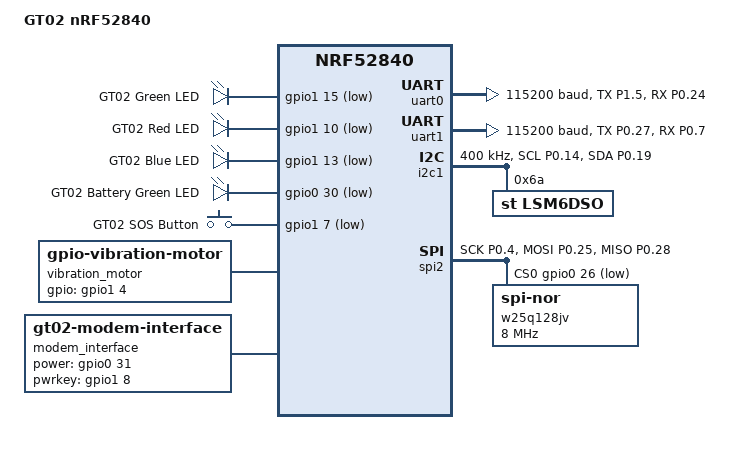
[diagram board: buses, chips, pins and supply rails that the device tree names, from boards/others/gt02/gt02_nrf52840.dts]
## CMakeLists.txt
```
# 声明本工程要求的最低CMake版本；Zephyr 4.x满足这个要求。
cmake_minimum_required(VERSION 3.20.0)

# 把当前工程根目录加入Zephyr的板级搜索路径。
# Zephyr会在${CMAKE_CURRENT_SOURCE_DIR}/boards下查找我们的GT02自定义板。
# 这句必须位于find_package(Zephyr ...)之前，否则Zephyr初始化时无法发现自定义板。
list(APPEND BOARD_ROOT ${CMAKE_CURRENT_SOURCE_DIR})

# 查找并加载Zephyr构建系统。
# REQUIRED表示找不到Zephyr时立即停止配置；ZEPHYR_BASE指向本机Zephyr源码目录。
find_package(Zephyr REQUIRED HINTS $ENV{ZEPHYR_BASE})

# 定义应用工程名称；该名称会出现在CMake生成的工程信息中。
project(MyProject)

# 把src/main.c加入Zephyr自动创建的app构建目标。
# PRIVATE表示该源文件只属于当前app目标，不向其他CMake目标传播。
target_sources(app PRIVATE
    # 应用入口只负责进入产品装配层。
    src/main.c
    # 产品装配：LED心跳、IMU FIFO采样、外部Flash只读检查。
    app/gt02_app.c
    adapters/indicator/gt02_status_led_zephyr.c
    services/imu/gt02_imu_service.c
    adapters/imu/gt02_imu_zephyr.c
    adapters/storage/gt02_flash_zephyr.c
)

# 使组件头文件可使用从工程根目录开始的稳定路径。
target_include_directories(app PRIVATE ${CMAKE_CURRENT_SOURCE_DIR})

# 官方Flash驱动仍由Zephyr选择；此处只按应用开关选择我们的测试文件。
target_sources_ifdef(CONFIG_GT02_FLASH_SELF_TEST app PRIVATE
    tests/bringup/gt02_flash_selftest.c
)

# 4G重建第一步只编译硬件底座，不依赖SDK内部AT头文件或网络服务。
target_sources_ifdef(CONFIG_GT02_MODEM_HW app PRIVATE
    adapters/modem/gt02_modem_zephyr.c
)

# 临时验证与硬件适配分开；关闭测试开关即移除测试线程和原始RX日志。
target_sources_ifdef(CONFIG_GT02_MODEM_HW_TEST app PRIVATE
    tests/bringup/gt02_modem_hw_test.c
)

# 保留下层AT及厂家能力；是否启动由装配入口决定，编译不表示自动上电。
if(CONFIG_GT02_MODEM_AT)
    target_sources(app PRIVATE
        adapters/modem/gt02_modem_at.c
        adapters/modem/gt02_modem_lierda.c
    )
    # SDK内部解析器仅由AT核心使用，不向上层传播其头文件路径。
    target_include_directories(app PRIVATE ${ZEPHYR_BASE}/drivers/modem)
endif()

target_sources_ifdef(CONFIG_GT02_MODEM_AT_TEST app PRIVATE
    tests/bringup/gt02_modem_at_test.c
)

# 检测服务只依赖统一操作表，不直接使用厂家命令或硬件引脚。
target_sources_ifdef(CONFIG_GT02_NETWORK_SERVICE app PRIVATE
    services/network/gt02_network_service.c
)
```

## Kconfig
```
# 应用配置入口：先加载Zephyr/NCS配置，再声明GT02自己的测试开关。
mainmenu "GT02 firmware configuration"

source "Kconfig.zephyr"

menu "GT02 bring-up tests"

config GT02_FLASH_SELF_TEST
	bool "Destructive test of the approved external Flash sector"
	depends on FLASH && SPI_NOR && FLASH_PAGE_LAYOUT && FLASH_MAP
	default n
	help
	  Run once per boot, before starting the IMU. Erase, program and verify
	  only the approved W25Q128JV sector at 0x00fff000, size 4096 bytes.
	  ALL previous contents of this sector will be destroyed. Three test
	  patterns are checked, then the sector is erased and verified again.
	  Disable this option after bring-up; it is not a production self-test.

endmenu

menu "GT02 modem hardware"

config GT02_MODEM_HW
	bool "GPIO and raw UART hardware adapter"
	depends on GPIO && SERIAL && SERIAL_SUPPORT_INTERRUPT
	depends on DT_HAS_GT02_MODEM_INTERFACE_ENABLED
	depends on UART_INTERRUPT_DRIVEN && RING_BUFFER && PM_DEVICE
	default n
	help
	  Build the board GPIO and raw UART adapter only. Application startup
	  prepares inactive POWER/PWRKEY signals, without powering the module
	  or starting UART. No AT parser, module sequence or network service.
	  Explicit UART suspend/resume uses device PM; system PM is not required.
	  The separate optional hardware test can exercise power cycling and RX.

if GT02_MODEM_HW

config GT02_MODEM_UART_RX_SIZE
	int "Shared raw UART receive ring size (bytes)"
	range 512 8192
	default 2048

config GT02_MODEM_HW_TEST
	bool "Temporary 10-second modem power-cycle and raw RX test"
	depends on LOG && !GT02_MODEM_AT
	default n
	help
	  Start two temporary test threads after the hardware GPIO preparation.
	  Print modem RX text on the configured log backend while power-cycling
	  every 10 seconds after the initial power-on completes. No AT commands
	  or TCP. Stop on power operation or online RX failure. Disable after
	  hardware verification; this is not a production network service.

config GT02_MODEM_AT
	bool "Table-driven asynchronous text AT core"
	depends on LOG && MODEM_CONTEXT && MODEM_CMD_HANDLER
	default n
	help
	  Use a single AT thread, a four-request FIFO, registered command/URC
	  tables and one shared response buffer. No automatic power recovery,
	  TCP, prompts or binary payloads. Cannot share RX with the raw test.

config GT02_NETWORK_SERVICE
	bool "Periodic SIM, LTE registration and IPv4 data-readiness monitor"
	depends on GT02_MODEM_AT
	default n
	help
	  Power on once, wait for startup notification, prepare AT, then query
	  SIM, signal, LTE registration and CID1 IPv4 data context periodically.
	  After registration, activate CID1 once successfully per power session
	  before querying its IP. Retry failed activation on the next check.
	  No APN configuration, TCP or TTS. AT faults may trigger a controlled
	  power cycle when the power-off and session-rearm hooks are provided.

config GT02_MODEM_AT_TEST
	bool "Temporary one-shot modem information queries"
	depends on GT02_MODEM_AT && !GT02_NETWORK_SERVICE
	default n
	help
	  Power on once, then run all implemented fixed information queries
	  sequentially after a board-specific startup delay. Preserve vendor
	  parsing callbacks and URCs. Keep power on; no GPIO, PDP activation,
	  TCP, automatic retry or recovery. Stop on timeout or stream loss.

endif

endmenu
```

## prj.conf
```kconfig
# 启用Zephyr通用GPIO子系统，供后续LED、按键和控制引脚使用。
CONFIG_GPIO=y

# 启用printk()；主要用于极早期调试，正式模块优先使用LOG_xxx接口。
CONFIG_PRINTK=y
# 启用Zephyr日志子系统。
CONFIG_LOG=y
# 设置全局默认日志等级为3，即INFO；ERR、WRN和INF会被编译进固件。
CONFIG_LOG_DEFAULT_LEVEL=3

# 控制台和日志使用UART0：TX=P1.05、RX=P0.24，115200 8N1，无流控。
CONFIG_CONSOLE=y
CONFIG_SERIAL=y
CONFIG_UART_CONSOLE=y
CONFIG_LOG_BACKEND_UART=y
CONFIG_LOG_PRINTK=y
CONFIG_USE_SEGGER_RTT=n
CONFIG_RTT_CONSOLE=n
CONFIG_LOG_BACKEND_RTT=n

# 六轴沿用现有自定义FIFO适配器，通过Zephyr I2C API访问LSM6DSO。
CONFIG_I2C=y
# 官方LSM6DSO驱动保持关闭，避免两个实现同时初始化同一颗IMU。
# 不需要为自定义FIFO适配器启用Sensor子系统。
# 若时钟校准等SDK组件需要SENSOR，让依赖自动选择，不强制设为n。
CONFIG_LSM6DSO=n

# 外部W25Q128JV使用官方SPI NOR驱动；从实际芯片读取SFDP参数。
# 驱动会在main()之前初始化；只读检查与破坏性自测由不同入口负责。
CONFIG_SPI=y
CONFIG_FLASH=y
CONFIG_SPI_NOR=y
CONFIG_SPI_NOR_SFDP_RUNTIME=y
# 提供JEDEC ID和擦除块布局查询，保持旧工程4 KiB扇区语义。
CONFIG_FLASH_JESD216_API=y
CONFIG_FLASH_PAGE_LAYOUT=y
CONFIG_SPI_NOR_FLASH_LAYOUT_PAGE_SIZE=4096
# Flash map为测试分区提供范围检查；与应用自测开关分别显式配置。
CONFIG_FLASH_MAP=y

# 用户已授权覆盖最后一个4 KiB扇区：0x00FFF000～0x00FFFFFF。
# 每次启动执行一轮有限擦写自测；会销毁该扇区原有数据！
# 验证完成后改为n并重新编译/烧录；不需要测试时不编译测试源文件。
CONFIG_GT02_FLASH_SELF_TEST=n

# 4G周期检测：驻网成功后激活一次PDP并查询IP，不自动配置APN或建立TCP。
# PM设备能力供UART1显式启停使用，不启用系统PM或自动运行时挂起。
CONFIG_PM_DEVICE=y
CONFIG_UART_INTERRUPT_DRIVEN=y
CONFIG_RING_BUFFER=y
CONFIG_GT02_MODEM_HW=y
CONFIG_GT02_MODEM_UART_RX_SIZE=2048
# 独立验证入口保持关闭，不自动上下电或执行信息查询。
CONFIG_GT02_MODEM_HW_TEST=n
# 显式启用SDK解析器依赖，避免从依赖UART的应用选项反向select产生Kconfig环。
CONFIG_MODEM=y
CONFIG_MODEM_CONTEXT=y
CONFIG_MODEM_CMD_HANDLER=y
CONFIG_GT02_MODEM_AT=y
CONFIG_GT02_MODEM_AT_TEST=n
CONFIG_GT02_NETWORK_SERVICE=y
# 保留当前日志缓冲容量；硬件底座本身不打印原始载荷。
CONFIG_LOG_BUFFER_SIZE=4096

# 主线程执行外设初始化、FIFO轮询和日志，预留4096字节栈。
CONFIG_MAIN_STACK_SIZE=4096

CONFIG_LOG_BACKEND_SHOW_COLOR=n
CONFIG_LOG_BACKEND_SHOW_LEVEL=n
```

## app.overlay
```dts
/*
 * 当前应用的外设启用覆盖及Flash测试分区。
 * UART0引脚、波特率、控制台选择均已集中到板级DTS，此处不再配置串口。
 * 本文件由Zephyr作为默认应用overlay加载；固定外设接线由板级DTS定义。
 * 六轴由自定义FIFO适配器管理，外部Flash由官方SPI NOR驱动管理。
 */
&w25q128jv {
	status = "okay";

	/*
	 * 用户明确批准的破坏性测试区；这里只划出最后一个4 KiB扇区。
	 * reg的偏移/长度单位均为字节，不是Flash节点size属性使用的bit。
	 * 定义分区不会自动擦除；仅启用GT02_FLASH_SELF_TEST后才执行擦写。
	 */
	partitions {
		compatible = "fixed-partitions";
		#address-cells = <1>;
		#size-cells = <1>;

		flash_test_partition: partition@fff000 {
			label = "gt02-flash-selftest";
			reg = <0x00fff000 0x00001000>;
		};
	};
};
```

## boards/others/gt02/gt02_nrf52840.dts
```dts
/*
 * GT02 nRF52840板级设备树。
 *
 * DTS只描述真实存在的硬件及连接关系，不描述产品运行策略。
 * 当前包括内部存储器、基础GPIO、UART0日志口、4G硬件接口、LSM6DSO和外部Flash。
 *
 * SPDX-License-Identifier: Apache-2.0
 */

/* 声明这是一个完整的Devicetree源文件。 */
/dts-v1/;

/*
 * 继承Zephyr提供的nRF52840 QIAA SoC描述。
 * 该文件已经定义CPU、1 MB内部Flash、256 KB SRAM和片上外设控制器。
 */
#include <nordic/nrf52840_qiaa.dtsi>
/* 提供INPUT_KEY_0等标准输入事件编号。 */
#include <zephyr/dt-bindings/input/input-event-codes.h>
/* 提供NRF_PSEL()及UART/I2C/SPI引脚复用功能编号。 */
#include <zephyr/dt-bindings/pinctrl/nrf-pinctrl.h>

/* `/`表示整棵设备树的根节点，也就是当前GT02整板。 */
/ {
	/* 人类可读的板型名称，会进入最终生成的设备树。 */
	model = "GT02 nRF52840";
	/* 机器可读兼容字符串，用于唯一描述该板型。 */
	compatible = "others,gt02-nrf52840";

	/* chosen用于告诉Zephyr系统级资源应该选择哪个硬件节点。 */
	chosen {
		/* 选择SoC内部flash0作为程序存储器；当前不指定code-partition。 */
		zephyr,flash = &flash0;
		/* 选择SoC内部sram0作为程序运行时内存。 */
		zephyr,sram = &sram0;
		/* GT02默认日志控制台使用下面配置的UART0。 */
		zephyr,console = &uart0;
	};

	/* 使用Zephyr标准gpio-leds绑定描述由GPIO控制的LED。 */
	leds {
		/* 选择通用gpio-leds驱动模型，应用不需要知道nRF寄存器。 */
		compatible = "gpio-leds";

		/* led_green是可被其他DTS属性引用的节点标签。 */
		led_green: led_green {
			/* 绿色LED接P1.15，GPIO_ACTIVE_LOW表示输出低电平时点亮。 */
			gpios = <&gpio1 15 GPIO_ACTIVE_LOW>;
			/* 供日志、Shell或调试工具显示的人类可读名称。 */
			label = "GT02 Green LED";
		};

		/* 红色LED硬件节点。 */
		led_red: led_red {
			/* 红色LED接P1.10，低电平点亮。 */
			gpios = <&gpio1 10 GPIO_ACTIVE_LOW>;
			/* 红色LED显示名称。 */
			label = "GT02 Red LED";
		};

		/* 蓝色LED硬件节点。 */
		led_blue: led_blue {
			/* 蓝色LED接P1.13，低电平点亮。 */
			gpios = <&gpio1 13 GPIO_ACTIVE_LOW>;
			/* 蓝色LED显示名称。 */
			label = "GT02 Blue LED";
		};

		/* 电池状态绿色LED硬件节点。 */
		led_battery_green: led_battery_green {
			/* 电池绿灯接P0.30，低电平点亮。 */
			gpios = <&gpio0 30 GPIO_ACTIVE_LOW>;
			/* 电池绿灯显示名称。 */
			label = "GT02 Battery Green LED";
		};
	};

	/* 使用Zephyr标准gpio-keys绑定描述GPIO按键。 */
	buttons {
		/* 选择通用GPIO按键模型，后续可配合input或直接GPIO接口使用。 */
		compatible = "gpio-keys";

		/* SOS按键节点，sos_button是其节点标签。 */
		sos_button: button_sos {
			/*
			 * SOS按键接P1.07。
			 * GPIO_PULL_UP启用内部上拉；GPIO_ACTIVE_LOW表示按下时读取为有效状态。
			 */
			gpios = <&gpio1 7 (GPIO_PULL_UP | GPIO_ACTIVE_LOW)>;
			/* SOS按键显示名称。 */
			label = "GT02 SOS Button";
			/* 给该按键分配标准输入键码；它不定义单击、长按等产品行为。 */
			zephyr,code = <INPUT_KEY_0>;
		};
	};

	/* 描述由单个GPIO使能信号控制的板载振动马达。 */
	vibration_motor: vibration-motor {
		/* 使用工程内的GT02 GPIO马达binding描述该硬件能力。 */
		compatible = "gpio-vibration-motor";
		/* 马达驱动使能接P1.04，高电平启动、低电平停止。 */
		gpios = <&gpio1 4 GPIO_ACTIVE_HIGH>;
		/* okay表示该马达控制节点在当前板型上真实存在且可用。 */
		status = "okay";
	};

	/*
	 * 4G模组的板级连接，不声明尚未确认的Air780/NT26具体型号。
	 * 该自定义binding只生成连接信息，不会自动配置GPIO或执行上电时序。
	 */
	modem_interface: modem-interface {
		compatible = "gt02-modem-interface";
		/* UART0已用于日志，因此为4G预留独立的UART1。 */
		uart = <&uart1>;
		/* 旧板宏INVERT=0：MCU端输出高电平有效。 */
		power-gpios = <&gpio0 31 GPIO_ACTIVE_HIGH>;
		pwrkey-gpios = <&gpio1 8 GPIO_ACTIVE_HIGH>;
		status = "okay";
	};

	/* aliases提供稳定的逻辑名称，使应用不依赖上面的具体节点名。 */
	aliases {
		/* 标准led0映射到GT02绿色LED。 */
		led0 = &led_green;
		/* 标准led1映射到GT02红色LED。 */
		led1 = &led_red;
		/* 标准led2映射到GT02蓝色LED。 */
		led2 = &led_blue;
		/* 标准led3映射到GT02电池绿色LED。 */
		led3 = &led_battery_green;
		/* 标准sw0映射到GT02 SOS按键。 */
		sw0 = &sos_button;
		/* motor0为应用提供稳定的马达逻辑名称，不暴露物理引脚。 */
		motor0 = &vibration_motor;
		/* imu0为应用提供稳定的六轴传感器逻辑名称。 */
		imu0 = &lsm6dso;
		/* 外部存储逻辑名；程序仍从chosen中选定的内部flash0启动。 */
		ext-flash0 = &w25q128jv;
		/* 4G适配层从该接口节点获取UART及电源控制GPIO。 */
		modem0 = &modem_interface;
		/* 标准watchdog0映射到nRF52840片上看门狗。 */
		watchdog0 = &wdt0;
	};
};

/*
 * 集中定义板上I2C1、SPI2、UART0日志口和UART1模组接口的引脚状态。
 * 旧工程中的TWI1对应Zephyr的i2c1，SCL和SDA分别连接P0.14与P0.19。
 */
&pinctrl {
	i2c1_default: i2c1_default {
		group1 {
			psels = <NRF_PSEL(TWIM_SCL, 0, 14)>,
				<NRF_PSEL(TWIM_SDA, 0, 19)>;
		};
	};

	i2c1_sleep: i2c1_sleep {
		group1 {
			psels = <NRF_PSEL(TWIM_SCL, 0, 14)>,
				<NRF_PSEL(TWIM_SDA, 0, 19)>;
			low-power-enable;
		};
	};

	/* 沿用旧工程SPI2接线：SCK=P0.04、MOSI=P0.25、MISO=P0.28。 */
	spi2_default: spi2_default {
		group1 {
			psels = <NRF_PSEL(SPIM_SCK, 0, 4)>,
				<NRF_PSEL(SPIM_MOSI, 0, 25)>,
				<NRF_PSEL(SPIM_MISO, 0, 28)>;
		};
	};

	/* 控制器休眠时释放SPI引脚；Flash深度休眠由后续电源切片处理。 */
	spi2_sleep: spi2_sleep {
		group1 {
			psels = <NRF_PSEL(SPIM_SCK, 0, 4)>,
				<NRF_PSEL(SPIM_MOSI, 0, 25)>,
				<NRF_PSEL(SPIM_MISO, 0, 28)>;
			low-power-enable;
		};
	};

	/* 固定日志串口：TX=P1.05、RX=P0.24；RX空闲时保持上拉。 */
	log_uart_default: log_uart_default {
		tx {
			psels = <NRF_PSEL(UART_TX, 1, 5)>;
		};
		rx {
			psels = <NRF_PSEL(UART_RX, 0, 24)>;
			bias-pull-up;
		};
	};

	/* 保留原来的串口低功耗引脚状态，不在本次迁移中改变电源策略。 */
	log_uart_sleep: log_uart_sleep {
		group1 {
			psels = <NRF_PSEL(UART_TX, 1, 5)>,
				<NRF_PSEL(UART_RX, 0, 24)>;
			low-power-enable;
		};
	};

	/* 方向以MCU为准：P0.27发往模组RX，P0.07接模组TX。 */
	modem_uart_default: modem_uart_default {
		tx {
			psels = <NRF_PSEL(UART_TX, 0, 27)>;
		};
		rx {
			psels = <NRF_PSEL(UART_RX, 0, 7)>;
			bias-pull-up;
		};
	};

	/* 这里只声明低功耗引脚状态；不代表已经实现模组休眠/唤醒策略。 */
	modem_uart_sleep: modem_uart_sleep {
		group1 {
			psels = <NRF_PSEL(UART_TX, 0, 27)>,
				<NRF_PSEL(UART_RX, 0, 7)>;
			low-power-enable;
		};
	};
};

/* UART0接线和默认通信参数属于板级描述，应用无需在overlay重复定义。 */
&uart0 {
	compatible = "nordic,nrf-uarte";
	status = "okay";
	current-speed = <115200>;
	/* 当前串口不接RTS/CTS，保持无硬件流控。 */
	/delete-property/ hw-flow-control;
	pinctrl-0 = <&log_uart_default>;
	pinctrl-1 = <&log_uart_sleep>;
	pinctrl-names = "default", "sleep";
};

/* 4G UART接线沿用旧gt02_4g；由S1适配层在模组上电后初始化。 */
&uart1 {
	compatible = "nordic,nrf-uarte";
	status = "okay";
	/* 有设备实例但不在main之前初始化；关闭S1时也不会自动驱动串口线。 */
	zephyr,deferred-init;
	current-speed = <115200>;
	data-bits = <8>;
	parity = "none";
	stop-bits = "1";
	/delete-property/ hw-flow-control;
	pinctrl-0 = <&modem_uart_default>;
	pinctrl-1 = <&modem_uart_sleep>;
	pinctrl-names = "default", "sleep";
};

/* 启用带EasyDMA的TWIM1控制器，并描述挂载在该总线上的LSM6DSO。 */
&i2c1 {
	compatible = "nordic,nrf-twim";
	status = "okay";
	clock-frequency = <I2C_BITRATE_FAST>;
	pinctrl-0 = <&i2c1_default>;
	pinctrl-1 = <&i2c1_sleep>;
	pinctrl-names = "default", "sleep";

	/* SA0在GT02硬件上选择0x6A地址；INT1和INT2均未连接。 */
	lsm6dso: lsm6dso@6a {
		compatible = "st,lsm6dso";
		reg = <0x6a>;
		status = "okay";
	};
};

/* 外部NOR使用独立SPIM2，与IMU的TWIM1分别由Zephyr管理。 */
&spi2 {
	compatible = "nordic,nrf-spim";
	status = "okay";
	pinctrl-0 = <&spi2_default>;
	pinctrl-1 = <&spi2_sleep>;
	pinctrl-names = "default", "sleep";
	/* reg=<0>对应这张片选列表的第0项，片选低有效。 */
	cs-gpios = <&gpio0 26 GPIO_ACTIVE_LOW>;

	w25q128jv: flash@0 {
		/* 使用Zephyr已有SPI NOR binding和驱动，无需自建W25Q binding。 */
		compatible = "jedec,spi-nor";
		reg = <0>;
		spi-max-frequency = <8000000>;
		/* 此属性单位是bit：128 Mbit = 16 MiB，不是128 MB。 */
		size = <0x08000000>;
		/* SFDP_RUNTIME读取实际参数；适配器检查旧端口支持的两种ID。 */
		status = "okay";
	};
};

/* 启用nRF的GPIOTE外设，后续按键GPIO中断需要它。 */
&gpiote {
	/* okay表示该硬件节点可以由Zephyr创建设备实例。 */
	status = "okay";
};

/* 启用P0端口；蓝色LED位于该端口。 */
&gpio0 {
	/* okay表示允许GPIO驱动管理P0引脚。 */
	status = "okay";
};

/* 启用P1端口；其余LED和SOS按键位于该端口。 */
&gpio1 {
	/* okay表示允许GPIO驱动管理P1引脚。 */
	status = "okay";
};
```

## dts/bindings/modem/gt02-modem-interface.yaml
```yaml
# 应用私有的板级接线binding，不是某款模组的官方驱动binding。
description: |
  GT02 board wiring for an external UART cellular modem. This node describes
  the UART reference and MCU-side control signals only. It does not identify
  a particular modem model and does not instantiate a power sequencing driver.

compatible: "gt02-modem-interface"

include: base.yaml

properties:
  uart:
    type: phandle
    required: true
    description: |
      UART controller connected to the modem. Its pinctrl and communication
      settings are defined on that controller. The controller may remain
      disabled during board bring-up until power sequencing is implemented.

  power-gpios:
    type: phandle-array
    required: true
    description: |
      MCU-side modem supply enable signal. GPIO flags describe the active
      level at the MCU pin, including any inversion in the board circuitry.

  pwrkey-gpios:
    type: phandle-array
    required: true
    description: |
      MCU-side modem PWRKEY control signal. Pulse timing must be provided by
      a future modem adapter after the installed module has been confirmed.
```

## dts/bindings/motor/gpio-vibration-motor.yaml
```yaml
description: Vibration motor controlled by one GPIO

compatible: "gpio-vibration-motor"

include: base.yaml

properties:
  gpios:
    type: phandle-array
    required: true
    description: |
      GPIO connected to the motor driver enable input. The GPIO flags describe
      whether the enable signal is active high or active low.
```

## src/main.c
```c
#include "app/gt02_app.h"

/* Zephyr 初始化完成后，从这里进入 GT02 应用。 */
int main(void)
{
	return gt02_app_run();
}
```
